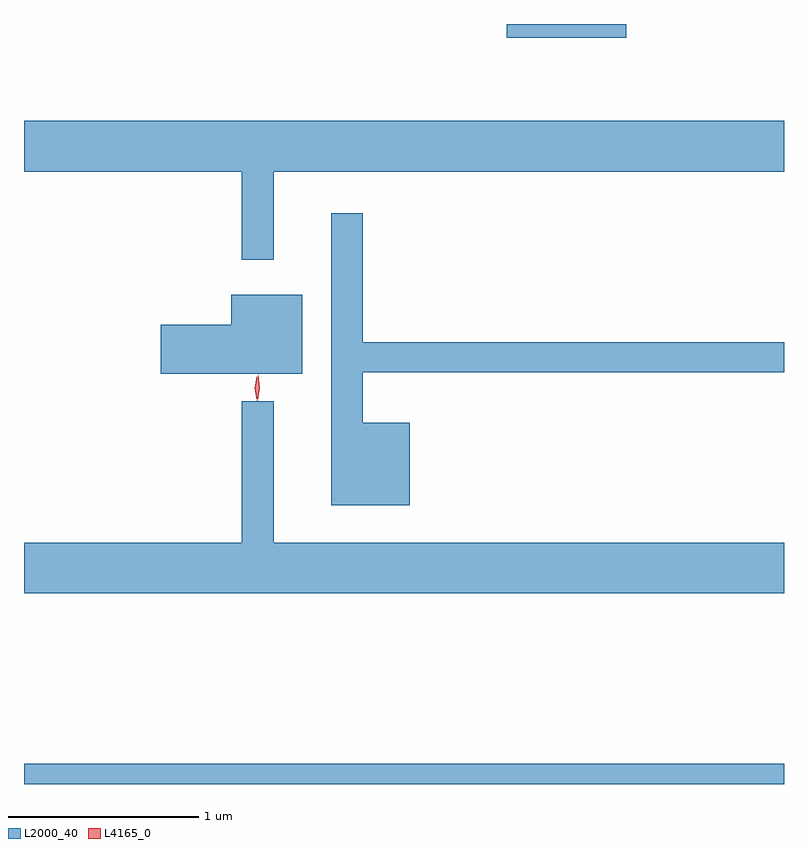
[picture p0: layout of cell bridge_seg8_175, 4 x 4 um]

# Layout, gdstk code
import gdstk
lib = gdstk.Library(unit=1e-6, precision=1e-09)
def R(c, l, rs):  # rectangles x0, y0, x1, y1
    for r in rs: c.add(gdstk.rectangle(r[:2], r[2:], *l))
def P(c, l, *ps):  # polygons
    for p in ps: c.add(gdstk.Polygon(p, *l))
L2000_40 = (2000, 40)
L4165_0 = (4165, 0)

bridge_seg8_175 = lib.new_cell('bridge_seg8_175')
R(bridge_seg8_175, L2000_40, [(1309.035,1935.313,1313.035,1935.419), (1311.576,1939.241,1312.204,1939.313)])
P(bridge_seg8_175, L2000_40, [(1309.035,1938.536),(1310.181,1938.536),(1310.181,1938.073),(1310.349,1938.073),(1310.349,1938.536),(1313.035,1938.536),(1313.035,1938.804),(1309.035,1938.804)],
  [(1311.064,1937.214),(1310.819,1937.214),(1310.819,1937.481),(1313.035,1937.481),(1313.035,1937.639),(1310.819,1937.639),(1310.819,1938.318),(1310.651,1938.318),(1310.651,1936.781),(1311.064,1936.781)],
  [(1310.499,1937.889),(1310.126,1937.889),(1310.126,1937.729),(1309.756,1937.729),(1309.756,1937.471),(1310.499,1937.471)],
  [(1313.035,1936.584),(1310.349,1936.584),(1310.349,1937.328),(1310.181,1937.328),(1310.181,1936.584),(1309.035,1936.584),(1309.035,1936.316),(1313.035,1936.316)])
P(bridge_seg8_175, L4165_0, [(1310.265,1937.33),(1310.257,1937.398),(1310.267,1937.466),(1310.267,1937.466),(1310.268,1937.466),(1310.277,1937.398),(1310.266,1937.33),(1310.266,1937.33)],
  [(1310.26,1937.333),(1310.25,1937.396),(1310.26,1937.459),(1310.26,1937.46),(1310.261,1937.459),(1310.27,1937.396),(1310.261,1937.333),(1310.261,1937.333)])

lib.write_gds('bridge_seg8_175.gds')
